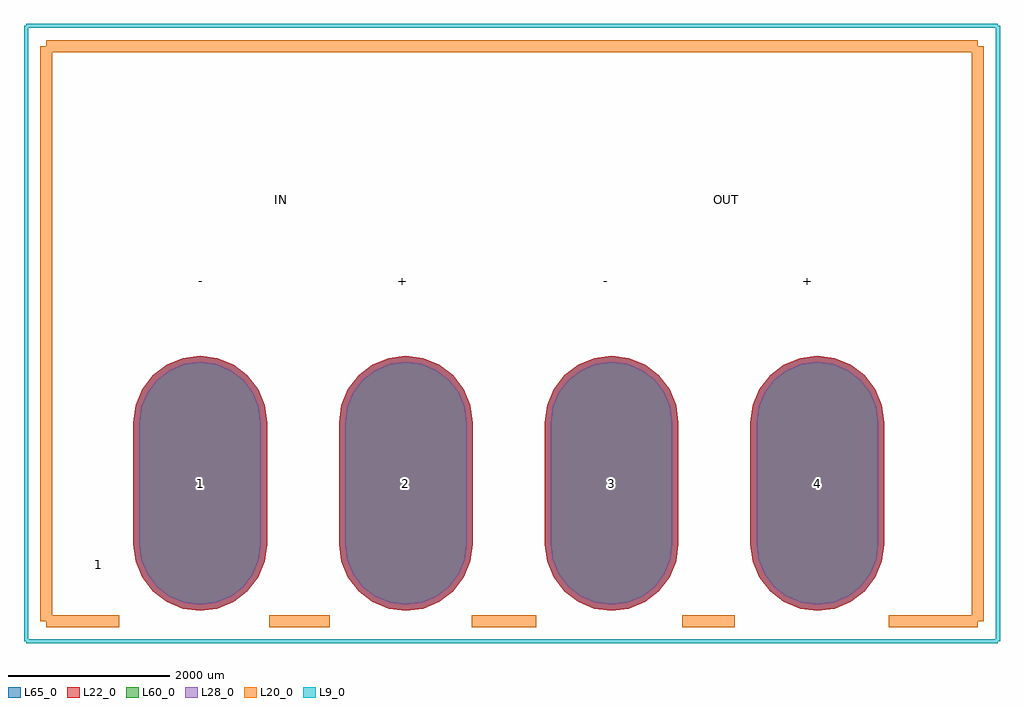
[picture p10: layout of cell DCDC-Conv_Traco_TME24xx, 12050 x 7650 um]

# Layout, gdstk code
import gdstk
lib = gdstk.Library(unit=1e-6, precision=1e-09)
def P(c, l, *ps):  # polygons
    for p in ps: c.add(gdstk.Polygon(p, *l))
L9_0 = (9, 0)
L20_0 = (20, 0)
L22_0 = (22, 0)
L28_0 = (28, 0)
L60_0 = (60, 0)
L65_0 = (65, 0)

dcdc_conv_traco_tme24xx = lib.new_cell('DCDC-Conv_Traco_TME24xx')
P(dcdc_conv_traco_tme24xx, L22_0, [(7620,-1574.87),(7833.673,-1546.739),(8032.785,-1464.265),(8203.766,-1333.066),(8334.965,-1162.085),(8417.439,-962.973),(8445.57,-749.3),(8445.57,749.3),(8417.439,962.973),(8334.965,1162.085),(8203.766,1333.066),(8032.785,1464.265),(7833.673,1546.739),(7620,1574.87),(7406.327,1546.739),(7207.215,1464.265),(7036.234,1333.066),(6905.035,1162.085),(6822.561,962.973),(6794.43,749.3),(6794.43,-749.3),(6822.561,-962.973),(6905.035,-1162.085),(7036.234,-1333.066),(7207.215,-1464.265),(7406.327,-1546.739)],
  [(5080,-1574.87),(5293.673,-1546.739),(5492.785,-1464.265),(5663.766,-1333.066),(5794.965,-1162.085),(5877.439,-962.973),(5905.57,-749.3),(5905.57,749.3),(5877.439,962.973),(5794.965,1162.085),(5663.766,1333.066),(5492.785,1464.265),(5293.673,1546.739),(5080,1574.87),(4866.327,1546.739),(4667.215,1464.265),(4496.234,1333.066),(4365.035,1162.085),(4282.561,962.973),(4254.43,749.3),(4254.43,-749.3),(4282.561,-962.973),(4365.035,-1162.085),(4496.234,-1333.066),(4667.215,-1464.265),(4866.327,-1546.739)],
  [(2540,-1574.87),(2753.673,-1546.739),(2952.785,-1464.265),(3123.766,-1333.066),(3254.965,-1162.085),(3337.439,-962.973),(3365.57,-749.3),(3365.57,749.3),(3337.439,962.973),(3254.965,1162.085),(3123.766,1333.066),(2952.785,1464.265),(2753.673,1546.739),(2540,1574.87),(2326.327,1546.739),(2127.215,1464.265),(1956.234,1333.066),(1825.035,1162.085),(1742.561,962.973),(1714.43,749.3),(1714.43,-749.3),(1742.561,-962.973),(1825.035,-1162.085),(1956.234,-1333.066),(2127.215,-1464.265),(2326.327,-1546.739)],
  [(0,-1574.87),(213.673,-1546.739),(412.785,-1464.265),(583.766,-1333.066),(714.965,-1162.085),(797.439,-962.973),(825.57,-749.3),(825.57,749.3),(797.439,962.973),(714.965,1162.085),(583.766,1333.066),(412.785,1464.265),(213.673,1546.739),(0,1574.87),(-213.673,1546.739),(-412.785,1464.265),(-583.766,1333.066),(-714.965,1162.085),(-797.439,962.973),(-825.57,749.3),(-825.57,-749.3),(-797.439,-962.973),(-714.965,-1162.085),(-583.766,-1333.066),(-412.785,-1464.265),(-213.673,-1546.739)])
P(dcdc_conv_traco_tme24xx, L28_0, [(7620,-1499.87),(7814.262,-1474.295),(7995.285,-1399.313),(8150.733,-1280.033),(8270.013,-1124.585),(8344.995,-943.562),(8370.57,-749.3),(8370.57,749.3),(8344.995,943.562),(8270.013,1124.585),(8150.733,1280.033),(7995.285,1399.313),(7814.262,1474.295),(7620,1499.87),(7425.738,1474.295),(7244.715,1399.313),(7089.267,1280.033),(6969.987,1124.585),(6895.005,943.562),(6869.43,749.3),(6869.43,-749.3),(6895.005,-943.562),(6969.987,-1124.585),(7089.267,-1280.033),(7244.715,-1399.313),(7425.738,-1474.295)],
  [(5080,-1499.87),(5274.262,-1474.295),(5455.285,-1399.313),(5610.733,-1280.033),(5730.013,-1124.585),(5804.995,-943.562),(5830.57,-749.3),(5830.57,749.3),(5804.995,943.562),(5730.013,1124.585),(5610.733,1280.033),(5455.285,1399.313),(5274.262,1474.295),(5080,1499.87),(4885.738,1474.295),(4704.715,1399.313),(4549.267,1280.033),(4429.987,1124.585),(4355.005,943.562),(4329.43,749.3),(4329.43,-749.3),(4355.005,-943.562),(4429.987,-1124.585),(4549.267,-1280.033),(4704.715,-1399.313),(4885.738,-1474.295)],
  [(2540,-1499.87),(2734.262,-1474.295),(2915.285,-1399.313),(3070.733,-1280.033),(3190.013,-1124.585),(3264.995,-943.562),(3290.57,-749.3),(3290.57,749.3),(3264.995,943.562),(3190.013,1124.585),(3070.733,1280.033),(2915.285,1399.313),(2734.262,1474.295),(2540,1499.87),(2345.738,1474.295),(2164.715,1399.313),(2009.267,1280.033),(1889.987,1124.585),(1815.005,943.562),(1789.43,749.3),(1789.43,-749.3),(1815.005,-943.562),(1889.987,-1124.585),(2009.267,-1280.033),(2164.715,-1399.313),(2345.738,-1474.295)],
  [(0,-1499.87),(194.262,-1474.295),(375.285,-1399.313),(530.733,-1280.033),(650.013,-1124.585),(724.995,-943.562),(750.57,-749.3),(750.57,749.3),(724.995,943.562),(650.013,1124.585),(530.733,1280.033),(375.285,1399.313),(194.262,1474.295),(0,1499.87),(-194.262,1474.295),(-375.285,1399.313),(-530.733,1280.033),(-650.013,1124.585),(-724.995,943.562),(-750.57,749.3),(-750.57,-749.3),(-724.995,-943.562),(-650.013,-1124.585),(-530.733,-1280.033),(-375.285,-1399.313),(-194.262,-1474.295)])
P(dcdc_conv_traco_tme24xx, L60_0, [(7620,-1499.87),(7814.262,-1474.295),(7995.285,-1399.313),(8150.733,-1280.033),(8270.013,-1124.585),(8344.995,-943.562),(8370.57,-749.3),(8370.57,749.3),(8344.995,943.562),(8270.013,1124.585),(8150.733,1280.033),(7995.285,1399.313),(7814.262,1474.295),(7620,1499.87),(7425.738,1474.295),(7244.715,1399.313),(7089.267,1280.033),(6969.987,1124.585),(6895.005,943.562),(6869.43,749.3),(6869.43,-749.3),(6895.005,-943.562),(6969.987,-1124.585),(7089.267,-1280.033),(7244.715,-1399.313),(7425.738,-1474.295)],
  [(5080,-1499.87),(5274.262,-1474.295),(5455.285,-1399.313),(5610.733,-1280.033),(5730.013,-1124.585),(5804.995,-943.562),(5830.57,-749.3),(5830.57,749.3),(5804.995,943.562),(5730.013,1124.585),(5610.733,1280.033),(5455.285,1399.313),(5274.262,1474.295),(5080,1499.87),(4885.738,1474.295),(4704.715,1399.313),(4549.267,1280.033),(4429.987,1124.585),(4355.005,943.562),(4329.43,749.3),(4329.43,-749.3),(4355.005,-943.562),(4429.987,-1124.585),(4549.267,-1280.033),(4704.715,-1399.313),(4885.738,-1474.295)],
  [(2540,-1499.87),(2734.262,-1474.295),(2915.285,-1399.313),(3070.733,-1280.033),(3190.013,-1124.585),(3264.995,-943.562),(3290.57,-749.3),(3290.57,749.3),(3264.995,943.562),(3190.013,1124.585),(3070.733,1280.033),(2915.285,1399.313),(2734.262,1474.295),(2540,1499.87),(2345.738,1474.295),(2164.715,1399.313),(2009.267,1280.033),(1889.987,1124.585),(1815.005,943.562),(1789.43,749.3),(1789.43,-749.3),(1815.005,-943.562),(1889.987,-1124.585),(2009.267,-1280.033),(2164.715,-1399.313),(2345.738,-1474.295)],
  [(0,-1499.87),(194.262,-1474.295),(375.285,-1399.313),(530.733,-1280.033),(650.013,-1124.585),(724.995,-943.562),(750.57,-749.3),(750.57,749.3),(724.995,943.562),(650.013,1124.585),(530.733,1280.033),(375.285,1399.313),(194.262,1474.295),(0,1499.87),(-194.262,1474.295),(-375.285,1399.313),(-530.733,1280.033),(-650.013,1124.585),(-724.995,943.562),(-750.57,749.3),(-750.57,-749.3),(-724.995,-943.562),(-650.013,-1124.585),(-530.733,-1280.033),(-375.285,-1399.313),(-194.262,-1474.295)])
P(dcdc_conv_traco_tme24xx, L65_0, [(7620,-1574.87),(7833.673,-1546.739),(8032.785,-1464.265),(8203.766,-1333.066),(8334.965,-1162.085),(8417.439,-962.973),(8445.57,-749.3),(8445.57,749.3),(8417.439,962.973),(8334.965,1162.085),(8203.766,1333.066),(8032.785,1464.265),(7833.673,1546.739),(7620,1574.87),(7406.327,1546.739),(7207.215,1464.265),(7036.234,1333.066),(6905.035,1162.085),(6822.561,962.973),(6794.43,749.3),(6794.43,-749.3),(6822.561,-962.973),(6905.035,-1162.085),(7036.234,-1333.066),(7207.215,-1464.265),(7406.327,-1546.739)],
  [(5080,-1574.87),(5293.673,-1546.739),(5492.785,-1464.265),(5663.766,-1333.066),(5794.965,-1162.085),(5877.439,-962.973),(5905.57,-749.3),(5905.57,749.3),(5877.439,962.973),(5794.965,1162.085),(5663.766,1333.066),(5492.785,1464.265),(5293.673,1546.739),(5080,1574.87),(4866.327,1546.739),(4667.215,1464.265),(4496.234,1333.066),(4365.035,1162.085),(4282.561,962.973),(4254.43,749.3),(4254.43,-749.3),(4282.561,-962.973),(4365.035,-1162.085),(4496.234,-1333.066),(4667.215,-1464.265),(4866.327,-1546.739)],
  [(2540,-1574.87),(2753.673,-1546.739),(2952.785,-1464.265),(3123.766,-1333.066),(3254.965,-1162.085),(3337.439,-962.973),(3365.57,-749.3),(3365.57,749.3),(3337.439,962.973),(3254.965,1162.085),(3123.766,1333.066),(2952.785,1464.265),(2753.673,1546.739),(2540,1574.87),(2326.327,1546.739),(2127.215,1464.265),(1956.234,1333.066),(1825.035,1162.085),(1742.561,962.973),(1714.43,749.3),(1714.43,-749.3),(1742.561,-962.973),(1825.035,-1162.085),(1956.234,-1333.066),(2127.215,-1464.265),(2326.327,-1546.739)],
  [(0,-1574.87),(213.673,-1546.739),(412.785,-1464.265),(583.766,-1333.066),(714.965,-1162.085),(797.439,-962.973),(825.57,-749.3),(825.57,749.3),(797.439,962.973),(714.965,1162.085),(583.766,1333.066),(412.785,1464.265),(213.673,1546.739),(0,1574.87),(-213.673,1546.739),(-412.785,1464.265),(-583.766,1333.066),(-714.965,1162.085),(-797.439,962.973),(-825.57,749.3),(-825.57,-749.3),(-797.439,-962.973),(-714.965,-1162.085),(-583.766,-1333.066),(-412.785,-1464.265),(-213.673,-1546.739)])
dcdc_conv_traco_tme24xx.add(gdstk.FlexPath([(-1899.92,4399.28),(-1899.92,-1701.8)], 149.998, ends="flush", simple_path=True, layer=20, datatype=0))  # L20_0
dcdc_conv_traco_tme24xx.add(gdstk.FlexPath([(9601.2,-1701.8),(9601.2,4399.28)], 149.998, ends="flush", simple_path=True, layer=20, datatype=0))  # L20_0
dcdc_conv_traco_tme24xx.add(gdstk.FlexPath([(9601.2,-1701.8),(8501.38,-1701.8)], 149.998, ends="flush", simple_path=True, layer=20, datatype=0))  # L20_0
dcdc_conv_traco_tme24xx.add(gdstk.FlexPath([(6601.46,-1701.8),(5951.22,-1701.8)], 149.998, ends="flush", simple_path=True, layer=20, datatype=0))  # L20_0
dcdc_conv_traco_tme24xx.add(gdstk.FlexPath([(4150.36,-1701.8),(3350.26,-1701.8)], 149.998, ends="flush", simple_path=True, layer=20, datatype=0))  # L20_0
dcdc_conv_traco_tme24xx.add(gdstk.FlexPath([(1600.2,-1701.8),(850.9,-1701.8)], 149.998, ends="flush", simple_path=True, layer=20, datatype=0))  # L20_0
dcdc_conv_traco_tme24xx.add(gdstk.FlexPath([(-998.22,-1701.8),(-1899.92,-1701.8)], 149.998, ends="flush", simple_path=True, layer=20, datatype=0))  # L20_0
dcdc_conv_traco_tme24xx.add(gdstk.FlexPath([(-1899.92,5397.5),(-1899.92,4399.28)], 149.998, ends="flush", simple_path=True, layer=20, datatype=0))  # L20_0
dcdc_conv_traco_tme24xx.add(gdstk.FlexPath([(9601.2,5397.5),(-1899.92,5397.5)], 149.998, ends="flush", simple_path=True, layer=20, datatype=0))  # L20_0
dcdc_conv_traco_tme24xx.add(gdstk.FlexPath([(9601.2,4399.28),(9601.2,5397.5)], 149.998, ends="flush", simple_path=True, layer=20, datatype=0))  # L20_0
dcdc_conv_traco_tme24xx.add(gdstk.FlexPath([(-2150,-1950),(9850,-1950)], 50, ends="flush", simple_path=True, layer=9, datatype=0))  # L9_0
dcdc_conv_traco_tme24xx.add(gdstk.FlexPath([(-2150,5650),(9850,5650)], 50, ends="flush", simple_path=True, layer=9, datatype=0))  # L9_0
dcdc_conv_traco_tme24xx.add(gdstk.FlexPath([(9850,5650),(9850,-1950)], 50, ends="flush", simple_path=True, layer=9, datatype=0))  # L9_0
dcdc_conv_traco_tme24xx.add(gdstk.FlexPath([(-2150,5650),(-2150,-1950)], 50, ends="flush", simple_path=True, layer=9, datatype=0))  # L9_0
dcdc_conv_traco_tme24xx.add(gdstk.Label('4', (7620,0), layer=28, texttype=0))
dcdc_conv_traco_tme24xx.add(gdstk.Label('3', (5080,0), layer=28, texttype=0))
dcdc_conv_traco_tme24xx.add(gdstk.Label('2', (2540,0), layer=28, texttype=0))
dcdc_conv_traco_tme24xx.add(gdstk.Label('1', (0,0), layer=28, texttype=0))
dcdc_conv_traco_tme24xx.add(gdstk.Label('-', (-0.5,2500.38), layer=9, texttype=0))
dcdc_conv_traco_tme24xx.add(gdstk.Label('-', (5000.76,2500.38), layer=9, texttype=0))
dcdc_conv_traco_tme24xx.add(gdstk.Label('+', (2498.86,2500.38), layer=9, texttype=0))
dcdc_conv_traco_tme24xx.add(gdstk.Label('+', (7500.12,2500.38), layer=9, texttype=0))
dcdc_conv_traco_tme24xx.add(gdstk.Label('IN', (1000.26,3498.6), layer=9, texttype=0))
dcdc_conv_traco_tme24xx.add(gdstk.Label('OUT', (6499.36,3498.6), layer=9, texttype=0))
dcdc_conv_traco_tme24xx.add(gdstk.Label('1', (-1250,-1000), layer=9, texttype=0))
dcdc_conv_traco_tme24xx.add(gdstk.Label('type', (0,7200), layer=9, texttype=0))
dcdc_conv_traco_tme24xx.add(gdstk.Label('devicename', (0,9200), layer=9, texttype=0))

lib.write_gds('DCDC-Conv_Traco_TME24xx.gds')
